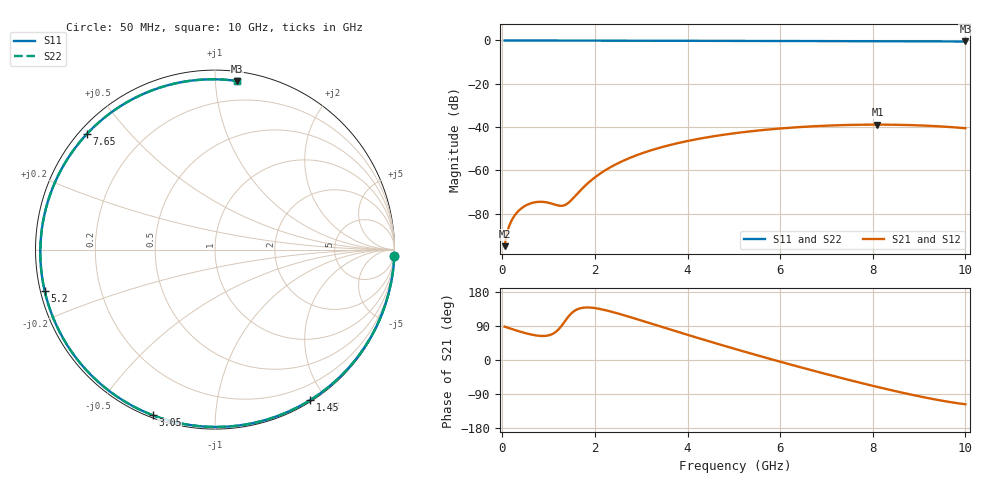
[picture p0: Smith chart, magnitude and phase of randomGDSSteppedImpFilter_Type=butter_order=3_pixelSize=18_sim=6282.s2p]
! freq	dB(S11)	phase(S11)	dB(S12)	phase(S12)
!  dB(S21)	phase(S21)	dB(S22)	phase(S22)
!S-par simulation data
#  GHz  S  DB  R 50
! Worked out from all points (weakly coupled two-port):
!   200 points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, 50 MHz to 10 GHz, reference 50 ohm
!   highest |S21| = -38.86 dB at 8.1 GHz (marker M1); lowest = -95.0 dB at 50 MHz (marker M2)
!   lowest |S11| = -0.5 dB at 10 GHz (marker M3), VSWR 36.93, Z = 3.11 + j56.9 ohm
!   |S11| at or under -10 dB: nowhere
!   |S22| runs from -0.5 to 0.0 dB; largest |S21 - S12| = 0
!   S11 on the Smith chart (normalised r, x): 50 MHz: 0, -55; 1.45 GHz: 0.02, -1.82; 3.05 GHz: 0.01, -0.69; 5.2 GHz: 0.01, -0.12; 7.65 GHz: 0.02, +0.38; 10 GHz: 0.06, +1.14
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0.05  -0.00 -2.1  -94.98 88.0  -94.98 88.0  -0.00 -2.1
0.3  -0.02 -12.4  -79.86 78.0  -79.86 78.0  -0.02 -12.4
0.5  -0.03 -20.6  -76.28 70.9  -76.28 70.9  -0.03 -20.6
0.7  -0.04 -28.6  -74.73 65.4  -74.73 65.4  -0.04 -28.7
0.9  -0.05 -36.6  -74.57 63.4  -74.57 63.4  -0.05 -36.6
1.25  -0.06 -50.2  -76.35 85.6  -76.35 85.6  -0.06 -50.2
1.45  -0.07 -57.7  -74.55 117.8  -74.55 117.8  -0.07 -57.7
1.75  -0.08 -68.6  -67.86 138.0  -67.86 138.0  -0.08 -68.6
2  -0.09 -77.3  -63.22 137.0  -63.22 137.0  -0.09 -77.3
2.3  -0.10 -87.4  -58.96 129.3  -58.96 129.3  -0.10 -87.4
3.05  -0.12 -110.7  -51.84 102.4  -51.84 102.4  -0.12 -110.7
3.4  -0.14 -120.7  -49.52 89.1  -49.52 89.1  -0.14 -120.8
4.2  -0.16 -142.0  -45.58 59.0  -45.58 59.0  -0.16 -142.1
5.05  -0.20 -162.8  -42.75 28.3  -42.75 28.3  -0.20 -162.9
5.2  -0.21 -166.4  -42.35 23.0  -42.35 23.0  -0.21 -166.4
5.95  -0.24 176.4  -40.73 -2.8  -40.73 -2.8  -0.24 176.3
6.7  -0.29 159.5  -39.64 -27.7  -39.64 -27.7  -0.29 159.4
7.65  -0.34 138.1  -38.94 -57.7  -38.94 -57.7  -0.34 138.1
8.1  -0.37 127.8  -38.86 -71.1  -38.86 -71.1  -0.37 127.8
8.35  -0.38 122.1  -38.89 -78.3  -38.89 -78.3  -0.38 122.0
9.2  -0.43 102.0  -39.39 -100.7  -39.39 -100.7  -0.43 101.9
10  -0.47 82.6  -40.52 -116.8  -40.52 -116.8  -0.47 82.5
